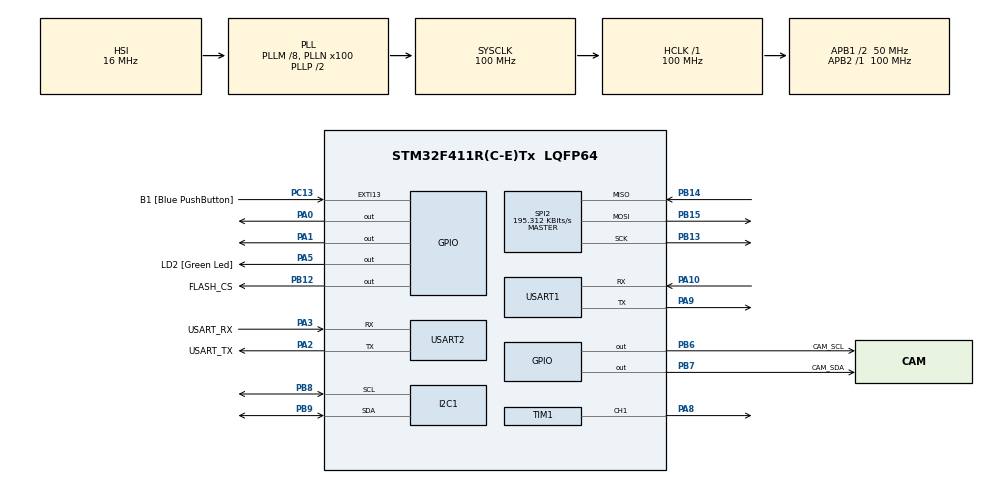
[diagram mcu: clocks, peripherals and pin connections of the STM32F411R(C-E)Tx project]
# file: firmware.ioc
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Mcu.Family=STM32F4
Mcu.Name=STM32F411R(C-E)Tx
Mcu.Package=LQFP64
NVIC.EXTI15_10_IRQn=true\:0\:0\:false\:false\:true\:true\:true\:true
NVIC.PriorityGroup=NVIC_PRIORITYGROUP_0
PA0-WKUP.GPIO_PuPd=GPIO_PULLUP
PA0-WKUP.Signal=GPIO_Output
PA1.GPIO_PuPd=GPIO_PULLUP
PA1.PinState=GPIO_PIN_SET
PA1.Signal=GPIO_Output
PA10.Mode=Asynchronous
PA10.Signal=USART1_RX
PA13.GPIO_Label=TMS
PA13.Mode=Serial_Wire
PA13.Signal=SYS_JTMS-SWDIO
PA14.GPIO_Label=TCK
PA14.Mode=Serial_Wire
PA14.Signal=SYS_JTCK-SWCLK
PA2.GPIO_Label=USART_TX
PA2.Mode=Asynchronous
PA2.Signal=USART2_TX
PA3.GPIO_Label=USART_RX
PA3.Mode=Asynchronous
PA3.Signal=USART2_RX
PA5.GPIO_Label=LD2 [Green Led]
PA5.Signal=GPIO_Output
PA8.Signal=S_TIM1_CH1
PA9.Mode=Asynchronous
PA9.Signal=USART1_TX
PB12.GPIO_Label=FLASH_CS
PB12.GPIO_PuPd=GPIO_PULLUP
PB12.PinState=GPIO_PIN_SET
PB12.Signal=GPIO_Output
PB13.Mode=Full_Duplex_Master
PB13.Signal=SPI2_SCK
PB14.Mode=Full_Duplex_Master
PB14.Signal=SPI2_MISO
PB15.Mode=Full_Duplex_Master
PB15.Signal=SPI2_MOSI
PB3.GPIO_Label=SWO
PB3.Signal=SYS_JTDO-SWO
PB6.GPIO_Label=CAM_SCL
PB6.GPIO_ModeDefaultOutputPP=GPIO_MODE_OUTPUT_OD
PB6.GPIO_PuPd=GPIO_PULLUP
PB6.PinState=GPIO_PIN_SET
PB6.Signal=GPIO_Output
PB7.GPIO_Label=CAM_SDA
PB7.GPIO_ModeDefaultOutputPP=GPIO_MODE_OUTPUT_OD
PB7.GPIO_PuPd=GPIO_NOPULL
PB7.PinState=GPIO_PIN_SET
PB7.Signal=GPIO_Output
PB8.Mode=I2C
PB8.Signal=I2C1_SCL
PB9.Mode=I2C
PB9.Signal=I2C1_SDA
PC13-ANTI_TAMP.GPIO_Label=B1 [Blue PushButton]
PC13-ANTI_TAMP.GPIO_ModeDefaultEXTI=GPIO_MODE_IT_FALLING
PC13-ANTI_TAMP.Signal=GPXTI13
PC14-OSC32_IN.Mode=LSE-External-Oscillator
PC14-OSC32_IN.Signal=RCC_OSC32_IN
PC15-OSC32_OUT.Mode=LSE-External-Oscillator
PC15-OSC32_OUT.Signal=RCC_OSC32_OUT
PH0\ -\ OSC_IN.Mode=HSE-External-Clock-Source
PH0\ -\ OSC_IN.Signal=RCC_OSC_IN
PH1\ -\ OSC_OUT.Mode=HSE-External-Clock-Source
PH1\ -\ OSC_OUT.Signal=RCC_OSC_OUT
ProjectManager.HeapSize=0x200
ProjectManager.StackSize=0x400
ProjectManager.TargetToolchain=Makefile
RCC.48MHZClocksFreq_Value=50000000
RCC.AHBFreq_Value=100000000
RCC.APB1CLKDivider=RCC_HCLK_DIV2
RCC.APB1Freq_Value=50000000
RCC.APB1TimFreq_Value=100000000
RCC.APB2Freq_Value=100000000
RCC.APB2TimFreq_Value=100000000
RCC.CortexFreq_Value=100000000
RCC.FLatency-AdvancedSettings=FLASH_LATENCY_3
RCC.HCLKFreq_Value=100000000
RCC.HSE_VALUE=8000000
RCC.HSI_VALUE=16000000
RCC.PLLM=8
RCC.PLLN=100
RCC.SYSCLKFreq_VALUE=100000000
RCC.SYSCLKSource=RCC_SYSCLKSOURCE_PLLCLK
RCC.VCOOutputFreq_Value=200000000
SH.S_TIM1_CH1.0=TIM1_CH1,PWM Generation1 CH1
SPI2.BaudRatePrescaler=SPI_BAUDRATEPRESCALER_256
SPI2.CalculateBaudRate=195.312 KBits/s
SPI2.Direction=SPI_DIRECTION_2LINES
SPI2.Mode=SPI_MODE_MASTER
SPI2.VirtualType=VM_MASTER
TIM1.AutoReloadPreload=TIM_AUTORELOAD_PRELOAD_ENABLE
TIM1.Channel-PWM\ Generation1\ CH1=TIM_CHANNEL_1
TIM1.Period=9
TIM1.Pulse-PWM\ Generation1\ CH1=5
USART1.VirtualMode=VM_ASYNC
USART2.VirtualMode=VM_ASYNC
board=NUCLEO-F411RE

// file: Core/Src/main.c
/* USER CODE BEGIN Header */
/**
  ******************************************************************************
  * @file           : main.c
  * @brief          : Main program body
  ******************************************************************************
  * @attention
  *
  * Copyright (c) 2026 STMicroelectronics.
  * All rights reserved.
  *
  * This software is licensed under terms that can be found in the LICENSE file
  * in the root directory of this software component.
  * If no LICENSE file comes with this software, it is provided AS-IS.
  *
  ******************************************************************************
  */
/* USER CODE END Header */
#include "main.h"

/* USER CODE BEGIN Includes */
#include <stdio.h>
#include "bringup.h"
#include "metrics.h"
#include "super_loop.h"
#include "drivers_stub.h"
/* USER CODE END Includes */

I2C_HandleTypeDef hi2c1;

SPI_HandleTypeDef hspi2;

TIM_HandleTypeDef htim1;

UART_HandleTypeDef huart1;
UART_HandleTypeDef huart2;

void SystemClock_Config(void);
static void MX_GPIO_Init(void);
static void MX_USART2_UART_Init(void);
static void MX_I2C1_Init(void);
static void MX_SPI2_Init(void);
static void MX_USART1_UART_Init(void);
static void MX_TIM1_Init(void);

/* USER CODE BEGIN 0 */
int _write(int fd, char *p, int n) {
  (void)fd;
  HAL_UART_Transmit(&huart2, (uint8_t*)p, n, HAL_MAX_DELAY);
  return n;
}
/* USER CODE END 0 */

int main(void)
{

  /* MCU Configuration--------------------------------------------------------*/

  /* Reset of all peripherals, Initializes the Flash interface and the Systick. */
  HAL_Init();

  /* USER CODE BEGIN Init */
  perf_init();
  stack_paint();
  /* USER CODE END Init */

  /* Configure the system clock */
  SystemClock_Config();

  /* Initialize all configured peripherals */
  MX_GPIO_Init();
  MX_USART2_UART_Init();
  MX_I2C1_Init();
  MX_SPI2_Init();
  MX_USART1_UART_Init();
  MX_TIM1_Init();
  /* USER CODE BEGIN 2 */
  app_bringup_init();
  setvbuf(stdout, NULL, _IONBF, 0);
  perf_init();
  stack_paint();
  metrics_init();
  metrics_probe_set(1);
  Drivers_InitAll();
  SuperLoop_Init();
  /* USER CODE END 2 */

  /* Infinite loop */
  /* USER CODE BEGIN WHILE */

  while (1)
  {
    app_bringup_run();
    SuperLoop_Run();
    /* USER CODE END WHILE */

  }
}

void SystemClock_Config(void)
{
  RCC_OscInitTypeDef RCC_OscInitStruct = {0};
  RCC_ClkInitTypeDef RCC_ClkInitStruct = {0};

  /** Configure the main internal regulator output voltage
  */
  __HAL_RCC_PWR_CLK_ENABLE();
  __HAL_PWR_VOLTAGESCALING_CONFIG(PWR_REGULATOR_VOLTAGE_SCALE1);

  /** Initializes the RCC Oscillators according to the specified parameters
  * in the RCC_OscInitTypeDef structure.
  */
  RCC_OscInitStruct.OscillatorType = RCC_OSCILLATORTYPE_HSI;
  RCC_OscInitStruct.HSIState = RCC_HSI_ON;
  RCC_OscInitStruct.HSICalibrationValue = RCC_HSICALIBRATION_DEFAULT;
  RCC_OscInitStruct.PLL.PLLState = RCC_PLL_ON;
  RCC_OscInitStruct.PLL.PLLSource = RCC_PLLSOURCE_HSI;
  RCC_OscInitStruct.PLL.PLLM = 8;
  RCC_OscInitStruct.PLL.PLLN = 100;
  RCC_OscInitStruct.PLL.PLLP = RCC_PLLP_DIV2;
  RCC_OscInitStruct.PLL.PLLQ = 4;
  if (HAL_RCC_OscConfig(&RCC_OscInitStruct) != HAL_OK)
  {
    Error_Handler();
  }

  /** Initializes the CPU, AHB and APB buses clocks
  */
  RCC_ClkInitStruct.ClockType = RCC_CLOCKTYPE_HCLK|RCC_CLOCKTYPE_SYSCLK
                              |RCC_CLOCKTYPE_PCLK1|RCC_CLOCKTYPE_PCLK2;
  RCC_ClkInitStruct.SYSCLKSource = RCC_SYSCLKSOURCE_PLLCLK;
  RCC_ClkInitStruct.AHBCLKDivider = RCC_SYSCLK_DIV1;
  RCC_ClkInitStruct.APB1CLKDivider = RCC_HCLK_DIV2;
  RCC_ClkInitStruct.APB2CLKDivider = RCC_HCLK_DIV1;

  if (HAL_RCC_ClockConfig(&RCC_ClkInitStruct, FLASH_LATENCY_3) != HAL_OK)
  {
    Error_Handler();
  }
}

static void MX_I2C1_Init(void)
{

  hi2c1.Instance = I2C1;
  hi2c1.Init.ClockSpeed = 100000;
  hi2c1.Init.DutyCycle = I2C_DUTYCYCLE_2;
  hi2c1.Init.OwnAddress1 = 0;
  hi2c1.Init.AddressingMode = I2C_ADDRESSINGMODE_7BIT;
  hi2c1.Init.DualAddressMode = I2C_DUALADDRESS_DISABLE;
  hi2c1.Init.OwnAddress2 = 0;
  hi2c1.Init.GeneralCallMode = I2C_GENERALCALL_DISABLE;
  hi2c1.Init.NoStretchMode = I2C_NOSTRETCH_DISABLE;
  if (HAL_I2C_Init(&hi2c1) != HAL_OK)
  {
    Error_Handler();
  }

}

static void MX_SPI2_Init(void)
{

  /* SPI2 parameter configuration*/
  hspi2.Instance = SPI2;
  hspi2.Init.Mode = SPI_MODE_MASTER;
  hspi2.Init.Direction = SPI_DIRECTION_2LINES;
  hspi2.Init.DataSize = SPI_DATASIZE_8BIT;
  hspi2.Init.CLKPolarity = SPI_POLARITY_LOW;
  hspi2.Init.CLKPhase = SPI_PHASE_1EDGE;
  hspi2.Init.NSS = SPI_NSS_SOFT;
  hspi2.Init.BaudRatePrescaler = SPI_BAUDRATEPRESCALER_256;
  hspi2.Init.FirstBit = SPI_FIRSTBIT_MSB;
  hspi2.Init.TIMode = SPI_TIMODE_DISABLE;
  hspi2.Init.CRCCalculation = SPI_CRCCALCULATION_DISABLE;
  hspi2.Init.CRCPolynomial = 10;
  if (HAL_SPI_Init(&hspi2) != HAL_OK)
  {
    Error_Handler();
  }

}

static void MX_TIM1_Init(void)
{

  TIM_MasterConfigTypeDef sMasterConfig = {0};
  TIM_OC_InitTypeDef sConfigOC = {0};
  TIM_BreakDeadTimeConfigTypeDef sBreakDeadTimeConfig = {0};

  htim1.Instance = TIM1;
  htim1.Init.Prescaler = 0;
  htim1.Init.CounterMode = TIM_COUNTERMODE_UP;
  htim1.Init.Period = 9;
  htim1.Init.ClockDivision = TIM_CLOCKDIVISION_DIV1;
  htim1.Init.RepetitionCounter = 0;
  htim1.Init.AutoReloadPreload = TIM_AUTORELOAD_PRELOAD_ENABLE;
  if (HAL_TIM_PWM_Init(&htim1) != HAL_OK)
  {
    Error_Handler();
  }
  sMasterConfig.MasterOutputTrigger = TIM_TRGO_RESET;
  sMasterConfig.MasterSlaveMode = TIM_MASTERSLAVEMODE_DISABLE;
  if (HAL_TIMEx_MasterConfigSynchronization(&htim1, &sMasterConfig) != HAL_OK)
  {
    Error_Handler();
  }
  sConfigOC.OCMode = TIM_OCMODE_PWM1;
  sConfigOC.Pulse = 5;
  sConfigOC.OCPolarity = TIM_OCPOLARITY_HIGH;
  sConfigOC.OCNPolarity = TIM_OCNPOLARITY_HIGH;
  sConfigOC.OCFastMode = TIM_OCFAST_DISABLE;
  sConfigOC.OCIdleState = TIM_OCIDLESTATE_RESET;
  sConfigOC.OCNIdleState = TIM_OCNIDLESTATE_RESET;
  if (HAL_TIM_PWM_ConfigChannel(&htim1, &sConfigOC, TIM_CHANNEL_1) != HAL_OK)
  {
    Error_Handler();
  }
  sBreakDeadTimeConfig.OffStateRunMode = TIM_OSSR_DISABLE;
  sBreakDeadTimeConfig.OffStateIDLEMode = TIM_OSSI_DISABLE;
  sBreakDeadTimeConfig.LockLevel = TIM_LOCKLEVEL_OFF;
  sBreakDeadTimeConfig.DeadTime = 0;
  sBreakDeadTimeConfig.BreakState = TIM_BREAK_DISABLE;
  sBreakDeadTimeConfig.BreakPolarity = TIM_BREAKPOLARITY_HIGH;
  sBreakDeadTimeConfig.AutomaticOutput = TIM_AUTOMATICOUTPUT_DISABLE;
  if (HAL_TIMEx_ConfigBreakDeadTime(&htim1, &sBreakDeadTimeConfig) != HAL_OK)
  {
    Error_Handler();
  }
  HAL_TIM_MspPostInit(&htim1);

}

static void MX_USART1_UART_Init(void)
{

  huart1.Instance = USART1;
  huart1.Init.BaudRate = 115200;
  huart1.Init.WordLength = UART_WORDLENGTH_8B;
  huart1.Init.StopBits = UART_STOPBITS_1;
  huart1.Init.Parity = UART_PARITY_NONE;
  huart1.Init.Mode = UART_MODE_TX_RX;
  huart1.Init.HwFlowCtl = UART_HWCONTROL_NONE;
  huart1.Init.OverSampling = UART_OVERSAMPLING_16;
  if (HAL_UART_Init(&huart1) != HAL_OK)
  {
    Error_Handler();
  }

}

static void MX_USART2_UART_Init(void)
{

  huart2.Instance = USART2;
  huart2.Init.BaudRate = 115200;
  huart2.Init.WordLength = UART_WORDLENGTH_8B;
  huart2.Init.StopBits = UART_STOPBITS_1;
  huart2.Init.Parity = UART_PARITY_NONE;
  huart2.Init.Mode = UART_MODE_TX_RX;
  huart2.Init.HwFlowCtl = UART_HWCONTROL_NONE;
  huart2.Init.OverSampling = UART_OVERSAMPLING_16;
  if (HAL_UART_Init(&huart2) != HAL_OK)
  {
    Error_Handler();
  }

}

static void MX_GPIO_Init(void)
{
  GPIO_InitTypeDef GPIO_InitStruct = {0};

  /* GPIO Ports Clock Enable */
  __HAL_RCC_GPIOC_CLK_ENABLE();
  __HAL_RCC_GPIOH_CLK_ENABLE();
  __HAL_RCC_GPIOA_CLK_ENABLE();
  __HAL_RCC_GPIOB_CLK_ENABLE();

  /*Configure GPIO pin Output Level */
  HAL_GPIO_WritePin(GPIOA, GPIO_PIN_0|LD2_Pin, GPIO_PIN_RESET);

  /*Configure GPIO pin Output Level */
  HAL_GPIO_WritePin(GPIOA, GPIO_PIN_1, GPIO_PIN_SET);

  /*Configure GPIO pin Output Level */
  HAL_GPIO_WritePin(GPIOB, FLASH_CS_Pin|CAM_SCL_Pin|CAM_SDA_Pin, GPIO_PIN_SET);

  /*Configure GPIO pin : B1_Pin */
  GPIO_InitStruct.Pin = B1_Pin;
  GPIO_InitStruct.Mode = GPIO_MODE_IT_FALLING;
  GPIO_InitStruct.Pull = GPIO_NOPULL;
  HAL_GPIO_Init(B1_GPIO_Port, &GPIO_InitStruct);

  /*Configure GPIO pins : PA0 PA1 */
  GPIO_InitStruct.Pin = GPIO_PIN_0|GPIO_PIN_1;
  GPIO_InitStruct.Mode = GPIO_MODE_OUTPUT_PP;
  GPIO_InitStruct.Pull = GPIO_PULLUP;
  GPIO_InitStruct.Speed = GPIO_SPEED_FREQ_LOW;
  HAL_GPIO_Init(GPIOA, &GPIO_InitStruct);

  /*Configure GPIO pin : LD2_Pin */
  GPIO_InitStruct.Pin = LD2_Pin;
  GPIO_InitStruct.Mode = GPIO_MODE_OUTPUT_PP;
  GPIO_InitStruct.Pull = GPIO_NOPULL;
  GPIO_InitStruct.Speed = GPIO_SPEED_FREQ_LOW;
  HAL_GPIO_Init(LD2_GPIO_Port, &GPIO_InitStruct);

  /*Configure GPIO pin : FLASH_CS_Pin */
  GPIO_InitStruct.Pin = FLASH_CS_Pin;
  GPIO_InitStruct.Mode = GPIO_MODE_OUTPUT_PP;
  GPIO_InitStruct.Pull = GPIO_PULLUP;
  GPIO_InitStruct.Speed = GPIO_SPEED_FREQ_LOW;
  HAL_GPIO_Init(FLASH_CS_GPIO_Port, &GPIO_InitStruct);

  /*Configure GPIO pin : CAM_SCL_Pin */
  GPIO_InitStruct.Pin = CAM_SCL_Pin;
  GPIO_InitStruct.Mode = GPIO_MODE_OUTPUT_OD;
  GPIO_InitStruct.Pull = GPIO_PULLUP;
  GPIO_InitStruct.Speed = GPIO_SPEED_FREQ_LOW;
  HAL_GPIO_Init(CAM_SCL_GPIO_Port, &GPIO_InitStruct);

  /*Configure GPIO pin : CAM_SDA_Pin */
  GPIO_InitStruct.Pin = CAM_SDA_Pin;
  GPIO_InitStruct.Mode = GPIO_MODE_OUTPUT_OD;
  GPIO_InitStruct.Pull = GPIO_NOPULL;
  GPIO_InitStruct.Speed = GPIO_SPEED_FREQ_LOW;
  HAL_GPIO_Init(CAM_SDA_GPIO_Port, &GPIO_InitStruct);

  /* EXTI interrupt init*/
  HAL_NVIC_SetPriority(EXTI15_10_IRQn, 0, 0);
  HAL_NVIC_EnableIRQ(EXTI15_10_IRQn);

}

void Error_Handler(void)
{
  __disable_irq();
  while (1)
  {
  }
}
